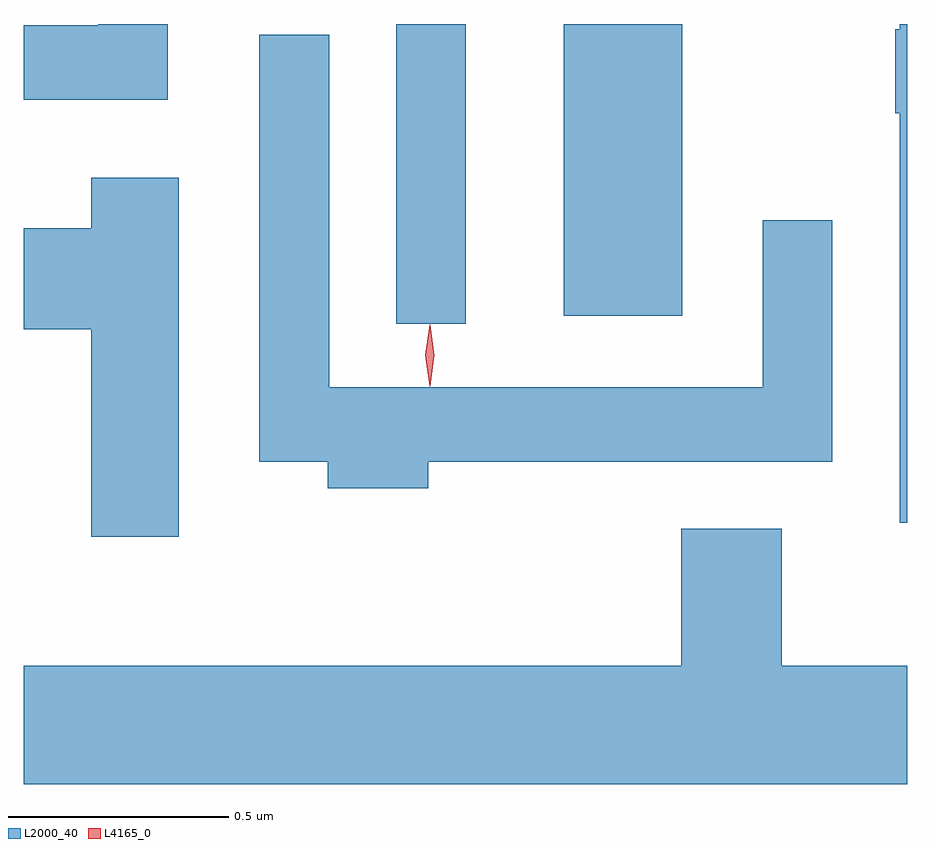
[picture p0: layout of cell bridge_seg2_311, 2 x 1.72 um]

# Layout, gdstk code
import gdstk
lib = gdstk.Library(unit=1e-6, precision=1e-09)
def R(c, l, rs):  # rectangles x0, y0, x1, y1
    for r in rs: c.add(gdstk.rectangle(r[:2], r[2:], *l))
def P(c, l, *ps):  # polygons
    for p in ps: c.add(gdstk.Polygon(p, *l))
L2000_40 = (2000, 40)
L4165_0 = (4165, 0)

bridge_seg2_311 = lib.new_cell('bridge_seg2_311')
R(bridge_seg2_311, L2000_40, [(425.036,1069.338,425.194,1070.017), (425.416,1069.356,425.684,1070.017)])
P(bridge_seg2_311, L2000_40, [(426.193,1070.017),(426.176,1070.017),(426.176,1070.005),(426.166,1070.005),(426.166,1069.815),(426.176,1069.815),(426.176,1068.888),(426.193,1068.888)],
  [(424.519,1070.017),(424.361,1070.017),(424.361,1070.014),(424.193,1070.014),(424.193,1069.846),(424.519,1069.846)],
  [(425.109,1069.026),(426.024,1069.026),(426.024,1069.573),(425.866,1069.573),(425.866,1069.194),(424.884,1069.194),(424.884,1069.993),(424.726,1069.993),(424.726,1069.026),(424.881,1069.026),(424.881,1068.966),(425.109,1068.966)],
  [(424.544,1069.669),(424.346,1069.669),(424.346,1069.554),(424.193,1069.554),(424.193,1069.326),(424.346,1069.326),(424.346,1068.856),(424.544,1068.856)],
  [(426.193,1068.564),(425.909,1068.564),(425.909,1068.874),(425.681,1068.874),(425.681,1068.564),(424.193,1068.564),(424.193,1068.296),(426.193,1068.296)])
P(bridge_seg2_311, L4165_0, [(425.112,1069.197),(425.112,1069.197),(425.102,1069.267),(425.112,1069.336),(425.112,1069.336),(425.113,1069.336),(425.122,1069.267),(425.113,1069.197)])

lib.write_gds('bridge_seg2_311.gds')
